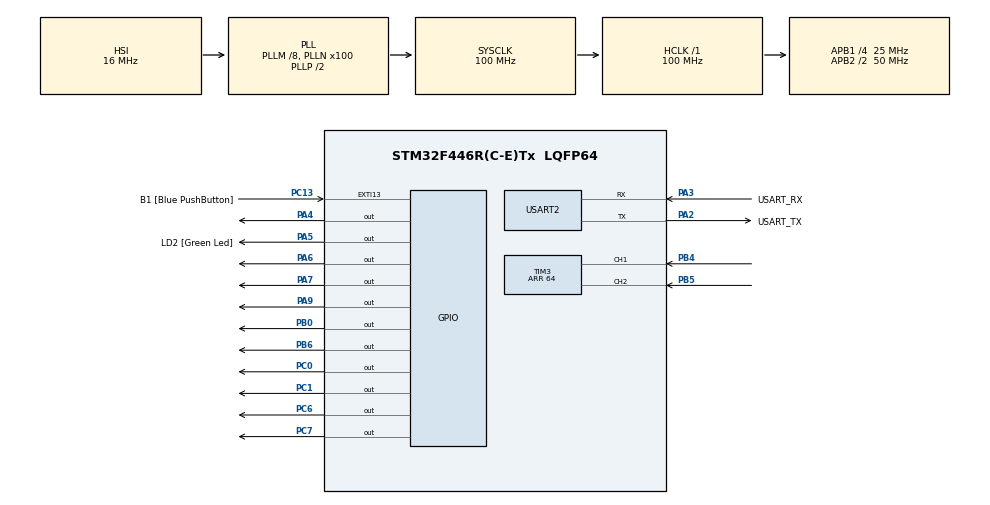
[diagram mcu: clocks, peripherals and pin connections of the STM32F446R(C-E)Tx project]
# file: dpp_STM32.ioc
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Mcu.Family=STM32F4
Mcu.Name=STM32F446R(C-E)Tx
Mcu.Package=LQFP64
NVIC.FLASH_IRQn=true\:0\:0\:false\:false\:true\:true\:true\:true
NVIC.PVD_IRQn=true\:0\:0\:false\:false\:true\:true\:true\:true
NVIC.PriorityGroup=NVIC_PRIORITYGROUP_0
NVIC.TIM2_IRQn=true\:0\:0\:false\:false\:true\:true\:true\:true
NVIC.USART2_IRQn=true\:0\:0\:false\:false\:true\:true\:true\:true
PA13.GPIO_Label=TMS
PA13.Mode=Serial_Wire
PA13.Signal=SYS_JTMS-SWDIO
PA14.GPIO_Label=TCK
PA14.Mode=Serial_Wire
PA14.Signal=SYS_JTCK-SWCLK
PA2.GPIO_Label=USART_TX
PA2.Mode=Asynchronous
PA2.Signal=USART2_TX
PA3.GPIO_Label=USART_RX
PA3.Mode=Asynchronous
PA3.Signal=USART2_RX
PA4.Signal=GPIO_Output
PA5.GPIO_Label=LD2 [Green Led]
PA5.Signal=GPIO_Output
PA6.Signal=GPIO_Output
PA7.Signal=GPIO_Output
PA9.Signal=GPIO_Output
PB0.Signal=GPIO_Output
PB3.GPIO_Label=SWO
PB3.Signal=SYS_JTDO-SWO
PB4.Signal=S_TIM3_CH1
PB5.Signal=S_TIM3_CH2
PB6.Signal=GPIO_Output
PC0.Signal=GPIO_Output
PC1.Signal=GPIO_Output
PC13.GPIO_Label=B1 [Blue PushButton]
PC13.GPIO_ModeDefaultEXTI=GPIO_MODE_IT_FALLING
PC13.Signal=GPXTI13
PC14-OSC32_IN.Mode=LSE-External-Oscillator
PC14-OSC32_IN.Signal=RCC_OSC32_IN
PC15-OSC32_OUT.Mode=LSE-External-Oscillator
PC15-OSC32_OUT.Signal=RCC_OSC32_OUT
PC6.Signal=GPIO_Output
PC7.Signal=GPIO_Output
PH0-OSC_IN.Mode=HSE-External-Oscillator
PH0-OSC_IN.Signal=RCC_OSC_IN
PH1-OSC_OUT.Mode=HSE-External-Oscillator
PH1-OSC_OUT.Signal=RCC_OSC_OUT
ProjectManager.HeapSize=0x200
ProjectManager.StackSize=0x400
ProjectManager.TargetToolchain=STM32CubeIDE
RCC.48MHZClocksFreq_Value=84000000
RCC.AHBFreq_Value=100000000
RCC.APB1CLKDivider=RCC_HCLK_DIV4
RCC.APB1Freq_Value=25000000
RCC.APB1TimFreq_Value=50000000
RCC.APB2CLKDivider=RCC_HCLK_DIV2
RCC.APB2Freq_Value=50000000
RCC.APB2TimFreq_Value=100000000
RCC.CortexFreq_Value=100000000
RCC.FLatency-AdvancedSettings=FLASH_LATENCY_3
RCC.HCLKFreq_Value=100000000
RCC.HSE_VALUE=8000000
RCC.HSI_VALUE=16000000
RCC.PLLM=8
RCC.PLLN=100
RCC.SYSCLKFreq_VALUE=100000000
RCC.SYSCLKSource=RCC_SYSCLKSOURCE_PLLCLK
RCC.USBFreq_Value=100000000
RCC.VCOOutputFreq_Value=200000000
SH.S_TIM3_CH1.0=TIM3_CH1,Encoder_Interface
SH.S_TIM3_CH2.0=TIM3_CH2,Encoder_Interface
TIM2.Period=100
TIM3.EncoderMode=TIM_ENCODERMODE_TI12
TIM3.IC1Filter=1
TIM3.Period=64
USART2.VirtualMode=VM_ASYNC
VP_TIM2_VS_ClockSourceINT.Mode=Internal
board=NUCLEO-F446RE

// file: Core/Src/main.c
/* USER CODE BEGIN Header */
/**
  ******************************************************************************
  * @file           : main.c
  * @brief          : Main program body
  ******************************************************************************
  * @attention
  *
  * Copyright (c) 2025 STMicroelectronics.
  * All rights reserved.
  *
  * This software is licensed under terms that can be found in the LICENSE file
  * in the root directory of this software component.
  * If no LICENSE file comes with this software, it is provided AS-IS.
  *
  ******************************************************************************
  */
/* USER CODE END Header */
#include "main.h"
#include "tim.h"
#include "usart.h"
#include "gpio.h"

/* USER CODE BEGIN Includes */
#include <stdlib.h>
#include <stdio.h>
#include <string.h>
#include "console.h"
/* USER CODE END Includes */

/* USER CODE BEGIN PD */
#define USE_INTERRUPT
/* USER CODE END PD */

void SystemClock_Config(void);

/* USER CODE BEGIN 0 */
volatile uint32_t s_elapsedTimeUs = 0;

uint32_t getMicros()
{
	// Resolution is 2 micro-secs using TIM2 at 50 MHz, counter period set 99, 2us
	return s_elapsedTimeUs;
}

#if 0
uint32_t volatile s_timerCount = 0;
uint16_t volatile s_timerChangeCount = 0;
uint8_t  volatile g_timerInterruptFlag = 0;
uint16_t volatile s_timerPeriod = 5000;
#endif

void HAL_TIM_PeriodElapsedCallback(TIM_HandleTypeDef *htim)
{
	/* Prevent unused argument(s) compilation warning */
	UNUSED(htim);

	if ( htim == &htim2 )
	{
		//Timer 2 period is 2 micro-secs, 100 counts with auto-reload
		s_elapsedTimeUs += 2;
#if 0
		// Use this technique for Stepper acceleration control.
		if ( s_timerCount >= 10000 )
		{
			s_timerCount = 0;
			g_timerInterruptFlag = 1;

			if ( ++s_timerChangeCount > 7 )
			{
				// The Frequency of the timer is 50 MHz.
				// Change the period of the timer pulses
				s_timerPeriod = (s_timerPeriod == 5000) ? 2500 : 5000;
				__HAL_TIM_SET_AUTORELOAD(&htim4, s_timerPeriod);
				s_timerChangeCount = 0;
			}
		}
#endif
	}
}

void HAL_GPIO_EXTI_Callback(uint16_t GPIO_Pin)
{
	/* Prevent unused argument(s) compilation warning */
	HAL_GPIO_TogglePin(GPIOA, GPIO_PIN_5);
}

uint8_t  volatile g_uartDataSent = 1;

void HAL_UART_TxCpltCallback(UART_HandleTypeDef *huart)
{
  /* Prevent unused argument(s) compilation warning */
  UNUSED(huart);
  g_uartDataSent = 1;
  /* NOTE: This function should not be modified, when the callback is needed,
           the HAL_UART_TxCpltCallback could be implemented in the user file
   */
}

/* USER CODE END 0 */

int main(void)
{

  /* MCU Configuration--------------------------------------------------------*/

  /* Reset of all peripherals, Initializes the Flash interface and the Systick. */
  HAL_Init();

  /* Configure the system clock */
  SystemClock_Config();

  /* Initialize all configured peripherals */
  MX_GPIO_Init();
  MX_USART2_UART_Init();
  MX_TIM2_Init();
  MX_TIM3_Init();
  /* USER CODE BEGIN 2 */
  HAL_TIM_Base_Start_IT(&htim2);
  /* USER CODE END 2 */

  /* Infinite loop */
  /* USER CODE BEGIN WHILE */
  while (1)
  {
	  // This is a C++ function allowing project to support C++ classes
	  // defined in the Cpp project subfolder; altMain never returns.
	  altMain();
    /* USER CODE END WHILE */

  }
}

void SystemClock_Config(void)
{
  RCC_OscInitTypeDef RCC_OscInitStruct = {0};
  RCC_ClkInitTypeDef RCC_ClkInitStruct = {0};

  /** Configure the main internal regulator output voltage
  */
  __HAL_RCC_PWR_CLK_ENABLE();
  __HAL_PWR_VOLTAGESCALING_CONFIG(PWR_REGULATOR_VOLTAGE_SCALE3);

  /** Initializes the RCC Oscillators according to the specified parameters
  * in the RCC_OscInitTypeDef structure.
  */
  RCC_OscInitStruct.OscillatorType = RCC_OSCILLATORTYPE_HSI;
  RCC_OscInitStruct.HSIState = RCC_HSI_ON;
  RCC_OscInitStruct.HSICalibrationValue = RCC_HSICALIBRATION_DEFAULT;
  RCC_OscInitStruct.PLL.PLLState = RCC_PLL_ON;
  RCC_OscInitStruct.PLL.PLLSource = RCC_PLLSOURCE_HSI;
  RCC_OscInitStruct.PLL.PLLM = 8;
  RCC_OscInitStruct.PLL.PLLN = 100;
  RCC_OscInitStruct.PLL.PLLP = RCC_PLLP_DIV2;
  RCC_OscInitStruct.PLL.PLLQ = 2;
  RCC_OscInitStruct.PLL.PLLR = 2;
  if (HAL_RCC_OscConfig(&RCC_OscInitStruct) != HAL_OK)
  {
    Error_Handler();
  }

  /** Initializes the CPU, AHB and APB buses clocks
  */
  RCC_ClkInitStruct.ClockType = RCC_CLOCKTYPE_HCLK|RCC_CLOCKTYPE_SYSCLK
                              |RCC_CLOCKTYPE_PCLK1|RCC_CLOCKTYPE_PCLK2;
  RCC_ClkInitStruct.SYSCLKSource = RCC_SYSCLKSOURCE_PLLCLK;
  RCC_ClkInitStruct.AHBCLKDivider = RCC_SYSCLK_DIV1;
  RCC_ClkInitStruct.APB1CLKDivider = RCC_HCLK_DIV4;
  RCC_ClkInitStruct.APB2CLKDivider = RCC_HCLK_DIV2;

  if (HAL_RCC_ClockConfig(&RCC_ClkInitStruct, FLASH_LATENCY_3) != HAL_OK)
  {
    Error_Handler();
  }
}

void Error_Handler(void)
{
  __disable_irq();
  while (1)
  {
  }
}
